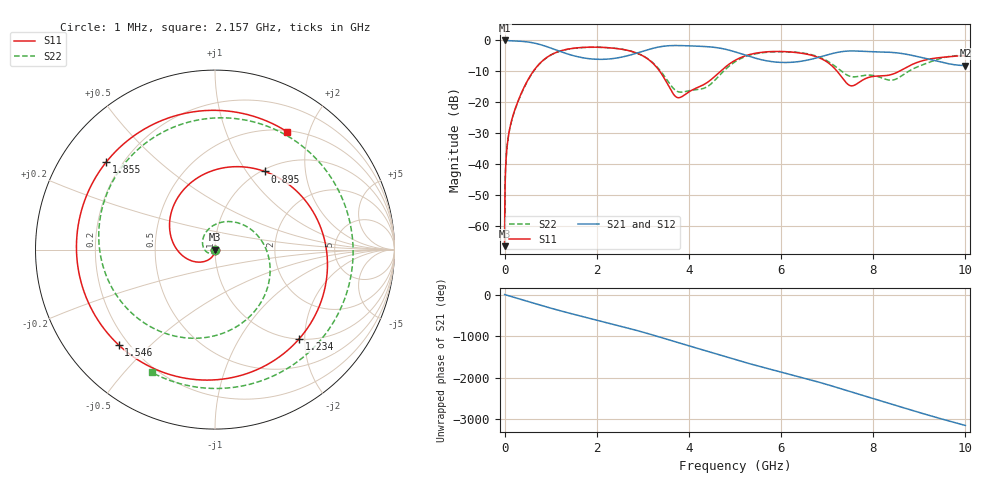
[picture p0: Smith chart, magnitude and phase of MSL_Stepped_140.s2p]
!Created with skrf (http://scikit-rf.org).
# MHz S RI R 50.0
!freq ReS11 ImS11 ReS21 ImS21 ReS12 ImS12 ReS22 ImS22
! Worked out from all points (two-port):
!   10000 points, 1 MHz to 10 GHz, reference 50 ohm
!   highest |S21| = 0.00 dB at 1 MHz (marker M1); lowest = -8.1 dB at 10 GHz (marker M2)
!   |S21| within 3 dB of the highest: start of sweep to 1.101 GHz; 3.11 GHz to 4.833 GHz (1.723 GHz wide, 43.4 % of centre)
!   lowest |S11| = -66.7 dB at 1 MHz (marker M3), VSWR 1.00, Z = 50 - j0.0463 ohm
!   |S11| at or under -10 dB: start of sweep to 623.7 MHz; 3.368 GHz to 4.684 GHz (1.316 GHz wide, 32.7 % of centre); 7.217 GHz to 8.563 GHz (1.346 GHz wide, 17.1 % of centre)
!   |S22| runs from -66.7 to -2.2 dB; largest |S21 - S12| = 5.6e-16
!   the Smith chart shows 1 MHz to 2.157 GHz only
!   S11 on the Smith chart (normalised r, x): 1 MHz: 1.00, -0.00; 895 MHz: 1.03, +1.22; 1.234 GHz: 1.01, -1.88; 1.546 GHz: 0.16, -0.40; 1.855 GHz: 0.14, +0.35; 2.157 GHz: 0.52, +1.67
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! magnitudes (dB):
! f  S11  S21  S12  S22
! 1 MHz  -66.7  0.0  0.0  -66.7
! 63 MHz  -33.3  -0.1  -0.1  -33.3
! 168 MHz  -25.1  -0.1  -0.1  -25.3
! 504 MHz  -12.9  -0.5  -0.5  -13.0
! 895 MHz  -5.7  -1.9  -1.9  -5.8
! 1.234 GHz  -3.3  -3.7  -3.7  -3.3
! 1.546 GHz  -2.4  -5.1  -5.1  -2.5
! 1.668 GHz  -2.3  -5.5  -5.5  -2.3
! 1.855 GHz  -2.2  -5.9  -5.9  -2.2
! 2.157 GHz  -2.3  -6.1  -6.1  -2.3
! 2.888 GHz  -4.2  -4.0  -4.0  -4.2
! 3.334 GHz  -9.3  -2.2  -2.2  -9.0
! 3.79 GHz  -18.6  -1.7  -1.7  -16.7
! 4.382 GHz  -13.8  -2.0  -2.0  -15.1
! 5.001 GHz  -6.5  -3.7  -3.7  -6.9
! 5.667 GHz  -3.7  -6.5  -6.5  -3.9
! 6.667 GHz  -4.8  -6.1  -6.1  -4.6
! 7.046 GHz  -7.5  -4.5  -4.5  -7.0
! 7.507 GHz  -14.7  -3.4  -3.4  -11.7
! 8.334 GHz  -11.3  -3.8  -3.8  -12.8
! 9.109 GHz  -6.4  -5.7  -5.7  -7.7
! 10 GHz  -4.9  -8.1  -8.1  -5.0
